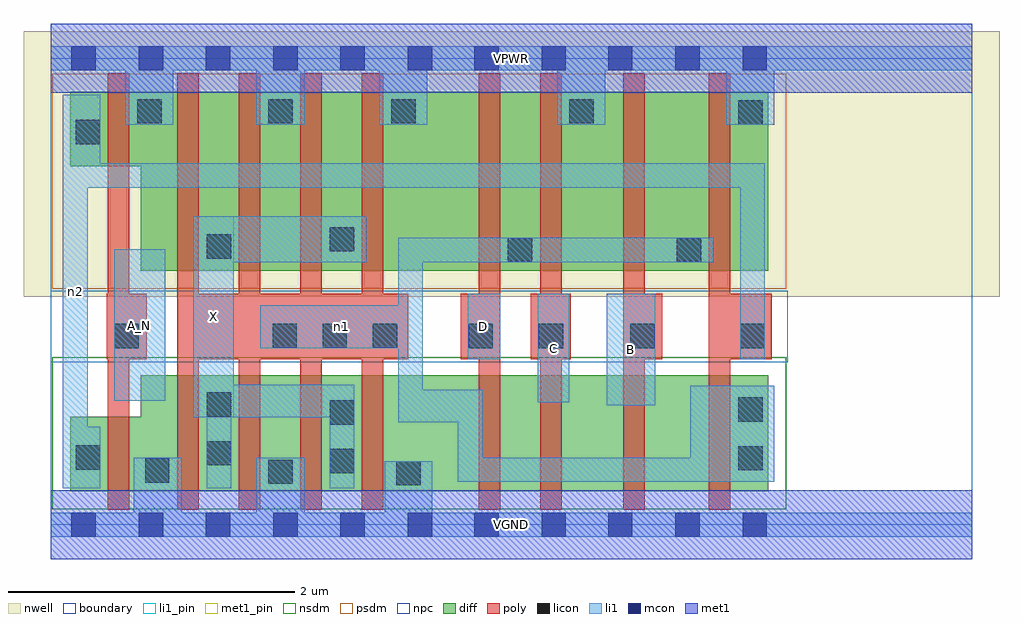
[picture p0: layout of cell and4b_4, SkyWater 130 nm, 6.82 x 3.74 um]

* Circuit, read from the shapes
.subckt and4b_4 A_N B C D VGND VPWR X n1 n2
XM1 VGND A_N n2 VSUBS sky130_fd_pr__nfet_01v8 w=0.52 l=0.15
XM2 X n1 VGND VSUBS sky130_fd_pr__nfet_01v8 w=0.81 l=0.15 m=4
XM3 n3 D VGND VSUBS sky130_fd_pr__nfet_01v8 w=0.81 l=0.15
XM4 n4 C n3 VSUBS sky130_fd_pr__nfet_01v8 w=0.81 l=0.15
XM5 n5 B n4 VSUBS sky130_fd_pr__nfet_01v8 w=0.81 l=0.15
XM6 n1 n2 n5 VSUBS sky130_fd_pr__nfet_01v8 w=0.81 l=0.15
XM7 VPWR A_N n2 n6 sky130_fd_pr__pfet_01v8 w=0.52 l=0.15
XM8 X n1 VPWR n6 sky130_fd_pr__pfet_01v8 w=1.25 l=0.15 m=4
XM9 n1 D VPWR n6 sky130_fd_pr__pfet_01v8 w=1.25 l=0.15
XM10 VPWR C n1 n6 sky130_fd_pr__pfet_01v8 w=1.25 l=0.15
XM11 n1 B VPWR n6 sky130_fd_pr__pfet_01v8 w=1.25 l=0.15
XM12 VPWR n2 n1 n6 sky130_fd_pr__pfet_01v8 w=1.25 l=0.15
.ends

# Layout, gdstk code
import gdstk
lib = gdstk.Library(unit=1e-6, precision=1e-09)
def R(c, l, rs):  # rectangles x0, y0, x1, y1
    for r in rs: c.add(gdstk.rectangle(r[:2], r[2:], *l))
def A(c, l, x, y, w, h, nx, ny, dx, dy):  # array of equal rectangles
    R(c, l, [(x+i*dx, y+j*dy, x+i*dx+w, y+j*dy+h) for i in range(nx) for j in range(ny)])
nwell = (64, 20)
diff = (65, 20)
poly = (66, 20)
licon = (66, 44)
li1_pin = (67, 16)
li1 = (67, 20)
mcon = (67, 44)
met1_pin = (68, 16)
met1 = (68, 20)
nsdm = (93, 44)
psdm = (94, 20)
npc = (95, 20)
boundary = (235, 4)

and4b_4 = lib.new_cell('and4b_4')
R(and4b_4, nwell, [(-0.19,1.595,6.63,3.45), (0,1.595,6.44,3.45)])
R(and4b_4, diff, [(0.135,0.235,5.015,0.755), (0.63,0.235,5.015,1.045), (0.63,1.775,5.015,3.025), (0.135,2.505,5.015,3.025)])
A(and4b_4, poly, 0.885, 0.105, 0.15, 3.05, 4, 1, 0.43, 0)
R(and4b_4, poly, [(0.4,0.105,0.55,3.155), (2.99,0.105,3.14,3.155), (3.42,0.105,3.57,3.155), (4,0.105,4.15,3.155), (4.6,0.105,4.75,3.155), (0.39,1.155,0.67,1.615), (0.885,1.155,2.5,1.615), (2.865,1.155,3.14,1.615), (3.355,1.155,3.635,1.615), (4,1.155,4.275,1.615), (4.6,1.155,5.04,1.615)])
A(and4b_4, licon, 1.55, 1.235, 0.17, 0.17, 3, 1, 0.35, 0)
R(and4b_4, licon, [(2.415,0.275,2.585,0.445), (1.52,0.285,1.69,0.455), (0.66,0.295,0.83,0.465), (1.95,0.36,2.12,0.53), (4.805,0.38,4.975,0.55), (0.175,0.385,0.345,0.555), (1.09,0.415,1.26,0.585), (1.95,0.7,2.12,0.87), (4.805,0.72,4.975,0.89), (1.09,0.755,1.26,0.925), (0.445,1.235,0.615,1.405), (2.92,1.235,3.09,1.405), (3.41,1.235,3.58,1.405), (4.05,1.235,4.22,1.405), (4.82,1.235,4.99,1.405), (3.195,1.835,3.365,2.005), (4.375,1.835,4.545,2.005), (1.09,1.86,1.26,2.03), (1.95,1.91,2.12,2.08), (0.175,2.66,0.345,2.83), (4.805,2.795,4.975,2.965), (0.605,2.805,0.775,2.975), (1.52,2.805,1.69,2.975), (2.38,2.805,2.55,2.975), (3.625,2.805,3.795,2.975)])
R(and4b_4, li1_pin, [(0.995,0.75,1.28,2.155), (3.885,0.835,4.225,1.615), (3.405,0.855,3.625,1.615), (0.445,0.865,0.8,1.925), (2.915,1.155,3.14,1.615)])
R(and4b_4, li1, [(0,-0.085,6.44,0.085), (0.58,-0.085,0.915,0.47), (1.435,-0.085,1.775,0.47), (2.335,-0.085,2.665,0.445), (0.085,0.255,0.26,3.005), (0.085,0.255,0.345,0.685), (1.09,0.255,1.26,2.155), (1.95,0.255,2.12,0.98), (2.845,0.3,5.055,0.47), (2.845,0.3,3.02,0.945), (4.47,0.3,5.055,0.97), (2.43,0.715,2.6,2.005), (2.43,0.715,3.02,0.945), (0.995,0.75,1.28,2.155), (0.995,0.75,2.12,0.98), (3.885,0.835,4.225,1.615), (3.405,0.855,3.625,1.615), (0.445,0.865,0.8,1.925), (2.915,1.155,3.14,1.615), (4.82,1.155,4.99,2.525), (1.465,1.235,2.6,1.535), (0.995,1.835,2.205,2.155), (2.43,1.835,4.63,2.005), (0.085,2.355,4.99,2.525), (0.085,2.355,0.345,3.005), (0.52,2.795,0.855,3.345), (1.435,2.795,1.775,3.345), (2.295,2.795,2.63,3.345), (3.54,2.795,3.875,3.345), (4.72,2.795,5.055,3.345), (0,3.175,6.44,3.345)])
A(and4b_4, mcon, 0.145, -0.085, 0.17, 0.17, 6, 2, 0.47, 3.26)
A(and4b_4, mcon, 3.895, -0.085, 0.17, 0.17, 3, 2, 0.47, 3.26)
R(and4b_4, mcon, [(2.96,-0.085,3.13,0.085), (3.43,-0.085,3.6,0.085), (2.96,3.175,3.13,3.345), (3.43,3.175,3.6,3.345)])
R(and4b_4, met1_pin, [(0,-0.24,6.44,0.24), (0,3.02,6.44,3.5)])
R(and4b_4, met1, [(0,-0.24,6.44,0.24), (0,3.02,6.44,3.5)])
R(and4b_4, nsdm, [(0.01,0.11,5.14,1.17)])
R(and4b_4, psdm, [(0.01,1.65,5.14,3.15)])
R(and4b_4, npc, [(0,1.135,5.15,1.635)])
R(and4b_4, boundary, [(0,0,6.44,3.26)])
and4b_4.add(gdstk.Label('A_N', (0.622,1.395), layer=67, texttype=5))
and4b_4.add(gdstk.Label('B', (4.055,1.225), layer=67, texttype=5))
and4b_4.add(gdstk.Label('C', (3.515,1.235), layer=67, texttype=5))
and4b_4.add(gdstk.Label('D', (3.027,1.385), layer=67, texttype=5))
and4b_4.add(gdstk.Label('X', (1.137,1.452), layer=67, texttype=5))
and4b_4.add(gdstk.Label('n1', (2.032,1.385), layer=67, texttype=5))
and4b_4.add(gdstk.Label('n2', (0.172,1.63), layer=67, texttype=5))
and4b_4.add(gdstk.Label('VPWR', (3.22,3.26), layer=68, texttype=5))
and4b_4.add(gdstk.Label('VGND', (3.22,0), layer=68, texttype=5))
and4b_4.add(gdstk.Label('A_N', (0.622,1.395), layer=67, texttype=16))
and4b_4.add(gdstk.Label('B', (4.055,1.225), layer=67, texttype=16))
and4b_4.add(gdstk.Label('C', (3.515,1.235), layer=67, texttype=16))
and4b_4.add(gdstk.Label('D', (3.027,1.385), layer=67, texttype=16))
and4b_4.add(gdstk.Label('X', (1.137,1.452), layer=67, texttype=16))
and4b_4.add(gdstk.Label('VPWR', (3.22,3.26), layer=68, texttype=16))
and4b_4.add(gdstk.Label('VGND', (3.22,0), layer=68, texttype=16))

lib.write_gds('and4b_4.gds')
